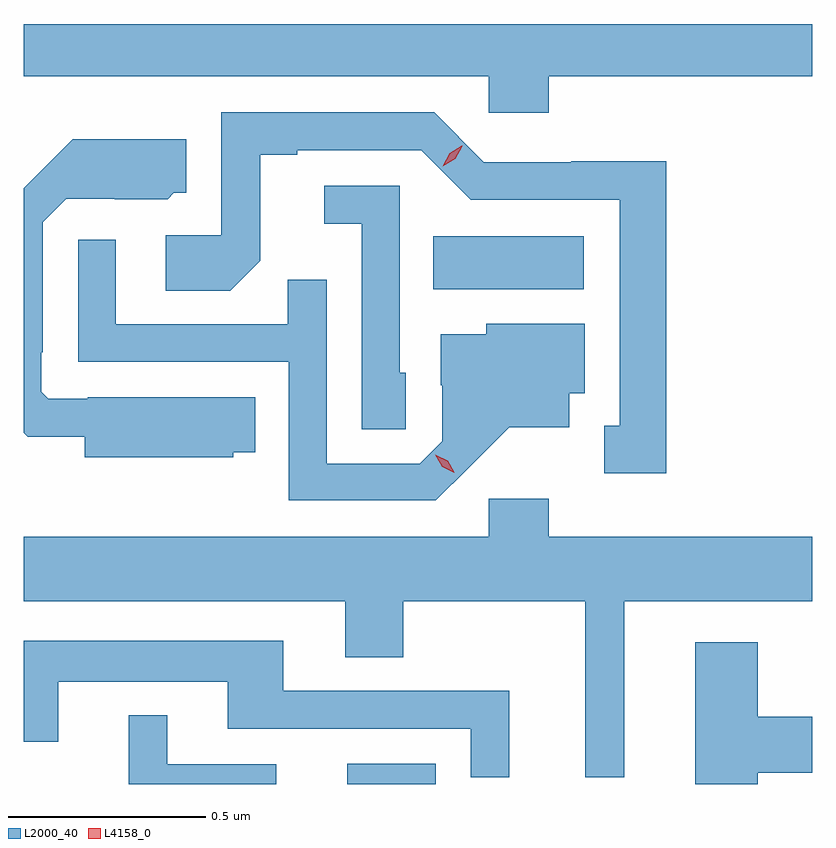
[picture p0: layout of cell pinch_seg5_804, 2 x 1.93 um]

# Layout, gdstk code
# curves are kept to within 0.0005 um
import gdstk
lib = gdstk.Library(unit=1e-6, precision=1e-09)
def R(c, l, rs):  # rectangles x0, y0, x1, y1
    for r in rs: c.add(gdstk.rectangle(r[:2], r[2:], *l))
def P(c, l, *ps):  # polygons
    for p in ps: c.add(gdstk.Polygon(p, *l))
L2000_40 = (2000, 40)
L4158_0 = (4158, 0)

pinch_seg5_804 = lib.new_cell('pinch_seg5_804')
R(pinch_seg5_804, L2000_40, [(773.18,913.573,773.404,913.624), (773.398,914.828,773.779,914.962)])
P(pinch_seg5_804, L2000_40, [(773.69,915.368),(774.359,915.368),(774.359,915.5),(772.359,915.5),(772.359,915.368),(773.538,915.368),(773.538,915.275),(773.69,915.275)],
  [(773.989,915.152),(773.748,915.152),(773.748,915.15),(773.526,915.15),(773.4,915.276),(772.86,915.276),(772.86,914.964),(772.719,914.964),(772.719,914.824),(772.883,914.824),(772.959,914.9),(772.959,915.168),(773.053,915.168),(773.053,915.18),(773.367,915.18),(773.493,915.054),(773.87,915.054),(773.87,914.481),(773.831,914.481),(773.831,914.361),(773.989,914.361)],
  [(772.89,914.414),(772.946,914.414),(772.946,914.554),(772.522,914.554),(772.522,914.55),(772.422,914.55),(772.404,914.568),(772.404,914.668),(772.407,914.668),(772.407,914.997),(772.467,915.057),(772.59,915.057),(772.59,915.056),(772.724,915.056),(772.74,915.072),(772.771,915.072),(772.771,915.208),(772.483,915.208),(772.359,915.083),(772.359,914.464),(772.37,914.453),(772.514,914.453),(772.514,914.402),(772.89,914.402)],
  [(773.328,914.616),(773.313,914.616),(773.313,915.09),(773.121,915.09),(773.121,914.993),(773.217,914.993),(773.217,914.473),(773.328,914.473)],
  [(773.488,914.375),(773.591,914.477),(773.743,914.477),(773.743,914.564),(773.782,914.564),(773.782,914.74),(773.532,914.74),(773.532,914.713),(773.417,914.713),(773.417,914.584),(773.421,914.584),(773.421,914.442),(773.364,914.385),(773.127,914.385),(773.127,914.852),(773.029,914.852),(773.029,914.739),(772.593,914.739),(772.593,914.953),(772.497,914.953),(772.497,914.643),(773.031,914.643),(773.031,914.292),(773.404,914.292)],
  [(773.882,914.036),(774.359,914.036),(774.359,914.2),(773.69,914.2),(773.69,914.296),(773.538,914.296),(773.538,914.2),(772.359,914.2),(772.359,914.036),(773.174,914.036),(773.174,913.894),(773.322,913.894),(773.322,914.036),(773.783,914.036),(773.783,913.59),(773.882,913.59)],
  [(773.591,913.809),(773.017,913.809),(773.017,913.936),(772.359,913.936),(772.359,913.68),(772.447,913.68),(772.447,913.832),(772.877,913.832),(772.877,913.713),(773.493,913.713),(773.493,913.59),(773.591,913.59)],
  [(774.221,913.601),(774.359,913.601),(774.359,913.743),(774.221,913.743),(774.221,913.933),(774.062,913.933),(774.062,913.573),(774.221,913.573)],
  [(773,913.623),(772.723,913.623),(772.723,913.747),(772.625,913.747),(772.625,913.573),(773,913.573)])
P(pinch_seg5_804, L4158_0, [(773.422,915.139),(773.422,915.139),(773.439,915.172),(773.47,915.191),(773.471,915.191),(773.471,915.19),(773.454,915.158),(773.422,915.139)],
  [(773.451,914.362),(773.42,914.378),(773.403,914.408),(773.403,914.408),(773.403,914.408),(773.434,914.392),(773.451,914.363),(773.451,914.362)])

lib.write_gds('pinch_seg5_804.gds')
